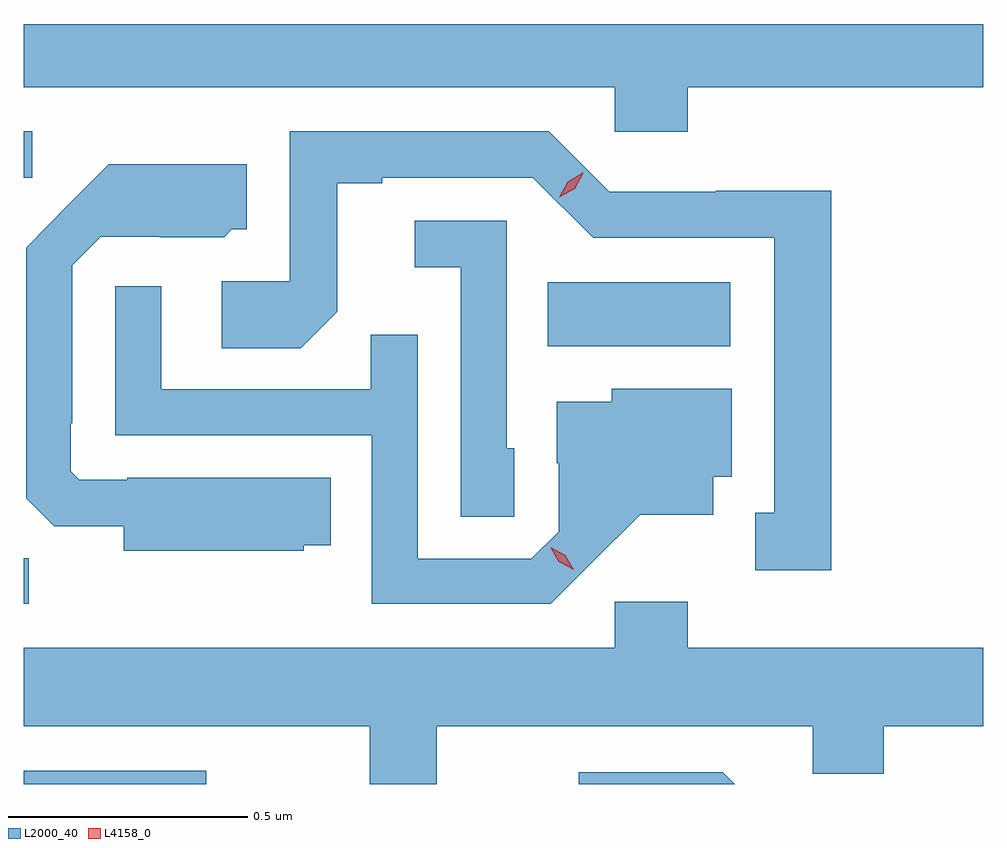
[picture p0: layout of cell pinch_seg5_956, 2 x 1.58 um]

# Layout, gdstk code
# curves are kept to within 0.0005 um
import gdstk
lib = gdstk.Library(unit=1e-6, precision=1e-09)
def R(c, l, rs):  # rectangles x0, y0, x1, y1
    for r in rs: c.add(gdstk.rectangle(r[:2], r[2:], *l))
def P(c, l, *ps):  # polygons
    for p in ps: c.add(gdstk.Polygon(p, *l))
L2000_40 = (2000, 40)
L4158_0 = (4158, 0)

pinch_seg5_956 = lib.new_cell('pinch_seg5_956')
R(pinch_seg5_956, L2000_40, [(677.734,913.916,678.114,913.944), (677.734,914.292,677.745,914.387), (678.826,914.828,679.207,914.962), (677.734,915.18,677.752,915.276)])
P(pinch_seg5_956, L2000_40, [(679.118,915.368),(679.734,915.368),(679.734,915.5),(677.734,915.5),(677.734,915.368),(678.966,915.368),(678.966,915.275),(679.118,915.275)],
  [(679.417,915.152),(679.176,915.152),(679.176,915.15),(678.954,915.15),(678.828,915.276),(678.288,915.276),(678.288,914.964),(678.147,914.964),(678.147,914.824),(678.311,914.824),(678.387,914.9),(678.387,915.168),(678.481,915.168),(678.481,915.18),(678.795,915.18),(678.921,915.054),(679.298,915.054),(679.298,914.481),(679.259,914.481),(679.259,914.361),(679.417,914.361)],
  [(678.318,914.414),(678.374,914.414),(678.374,914.554),(677.95,914.554),(677.95,914.55),(677.85,914.55),(677.832,914.568),(677.832,914.668),(677.835,914.668),(677.835,914.997),(677.895,915.057),(678.018,915.057),(678.018,915.056),(678.152,915.056),(678.168,915.072),(678.199,915.072),(678.199,915.208),(677.911,915.208),(677.739,915.034),(677.739,914.512),(677.798,914.453),(677.942,914.453),(677.942,914.402),(678.318,914.402)],
  [(678.756,914.616),(678.741,914.616),(678.741,915.09),(678.549,915.09),(678.549,914.993),(678.645,914.993),(678.645,914.473),(678.756,914.473)],
  [(678.916,914.375),(679.019,914.477),(679.171,914.477),(679.171,914.556),(679.21,914.556),(679.21,914.74),(678.96,914.74),(678.96,914.713),(678.845,914.713),(678.845,914.584),(678.849,914.584),(678.849,914.442),(678.792,914.385),(678.555,914.385),(678.555,914.852),(678.457,914.852),(678.457,914.739),(678.021,914.739),(678.021,914.953),(677.925,914.953),(677.925,914.643),(678.459,914.643),(678.459,914.292),(678.832,914.292)],
  [(678.595,914.036),(679.379,914.036),(679.379,913.937),(679.527,913.937),(679.527,914.036),(679.734,914.036),(679.734,914.2),(679.118,914.2),(679.118,914.296),(678.966,914.296),(678.966,914.2),(677.734,914.2),(677.734,914.036),(678.455,914.036),(678.455,913.916),(678.595,913.916)],
  [(679.191,913.941),(678.891,913.941),(678.891,913.916),(679.216,913.916)])
P(pinch_seg5_956, L4158_0, [(678.85,915.139),(678.85,915.139),(678.868,915.171),(678.899,915.19),(678.9,915.19),(678.9,915.189),(678.882,915.157),(678.85,915.139)],
  [(678.88,914.363),(678.849,914.379),(678.832,914.408),(678.832,914.409),(678.832,914.409),(678.863,914.393),(678.88,914.363),(678.88,914.363)])

lib.write_gds('pinch_seg5_956.gds')
